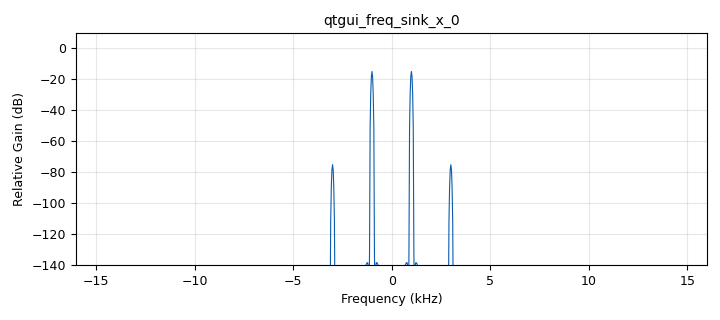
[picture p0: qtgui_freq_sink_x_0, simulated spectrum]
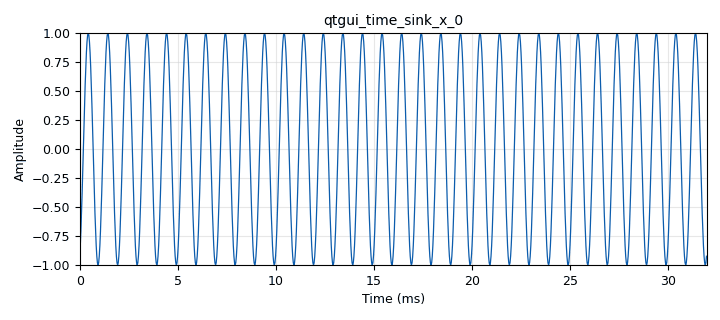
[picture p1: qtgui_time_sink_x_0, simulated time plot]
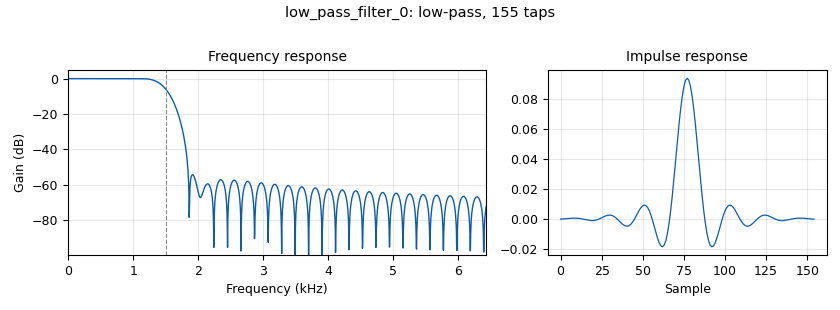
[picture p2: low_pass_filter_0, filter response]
options:
  parameters:
    generate_options: qt_gui
    id: gnu_radio_first_flowgraph
    output_language: python
    title: Not titled yet
  states: {}

blocks:
- name: samp_rate
  id: variable
  parameters:
    value: '32000'
  states: {}
- name: analog_sig_source_x_0
  id: analog_sig_source_x
  parameters:
    amp: '1'
    freq: '3000'
    offset: '0'
    phase: '0'
    samp_rate: samp_rate
    type: float
    waveform: analog.GR_COS_WAVE
  states: {}
- name: analog_sig_source_x_1
  id: analog_sig_source_x
  parameters:
    amp: '1'
    freq: '1000'
    offset: '0'
    phase: '0'
    samp_rate: samp_rate
    type: float
    waveform: analog.GR_COS_WAVE
  states: {}
- name: blocks_add_xx_0
  id: blocks_add_xx
  parameters:
    type: float
  states: {}
- name: blocks_throttle2_0
  id: blocks_throttle2
  parameters:
    samples_per_second: samp_rate
    type: float
  states: {}
- name: low_pass_filter_0
  id: low_pass_filter
  parameters:
    cutoff_freq: '1500'
    decim: '1'
    gain: '1'
    samp_rate: samp_rate
    type: fir_filter_fff
    width: '500'
    win: window.WIN_HAMMING
  states: {}
- name: qtgui_freq_sink_x_0
  id: qtgui_freq_sink_x
  parameters:
    bw: samp_rate
    fc: '0'
    fftsize: '1024'
    type: float
  states: {}
- name: qtgui_time_sink_x_0
  id: qtgui_time_sink_x
  parameters:
    size: '1024'
    srate: samp_rate
    type: float
  states: {}

connections:
- [analog_sig_source_x_0, '0', blocks_add_xx_0, '1']
- [analog_sig_source_x_1, '0', blocks_add_xx_0, '0']
- [blocks_add_xx_0, '0', blocks_throttle2_0, '0']
- [blocks_throttle2_0, '0', low_pass_filter_0, '0']
- [low_pass_filter_0, '0', qtgui_freq_sink_x_0, '0']
- [low_pass_filter_0, '0', qtgui_time_sink_x_0, '0']

metadata:
  file_format: 1
  grc_version: 3.10.12.0
